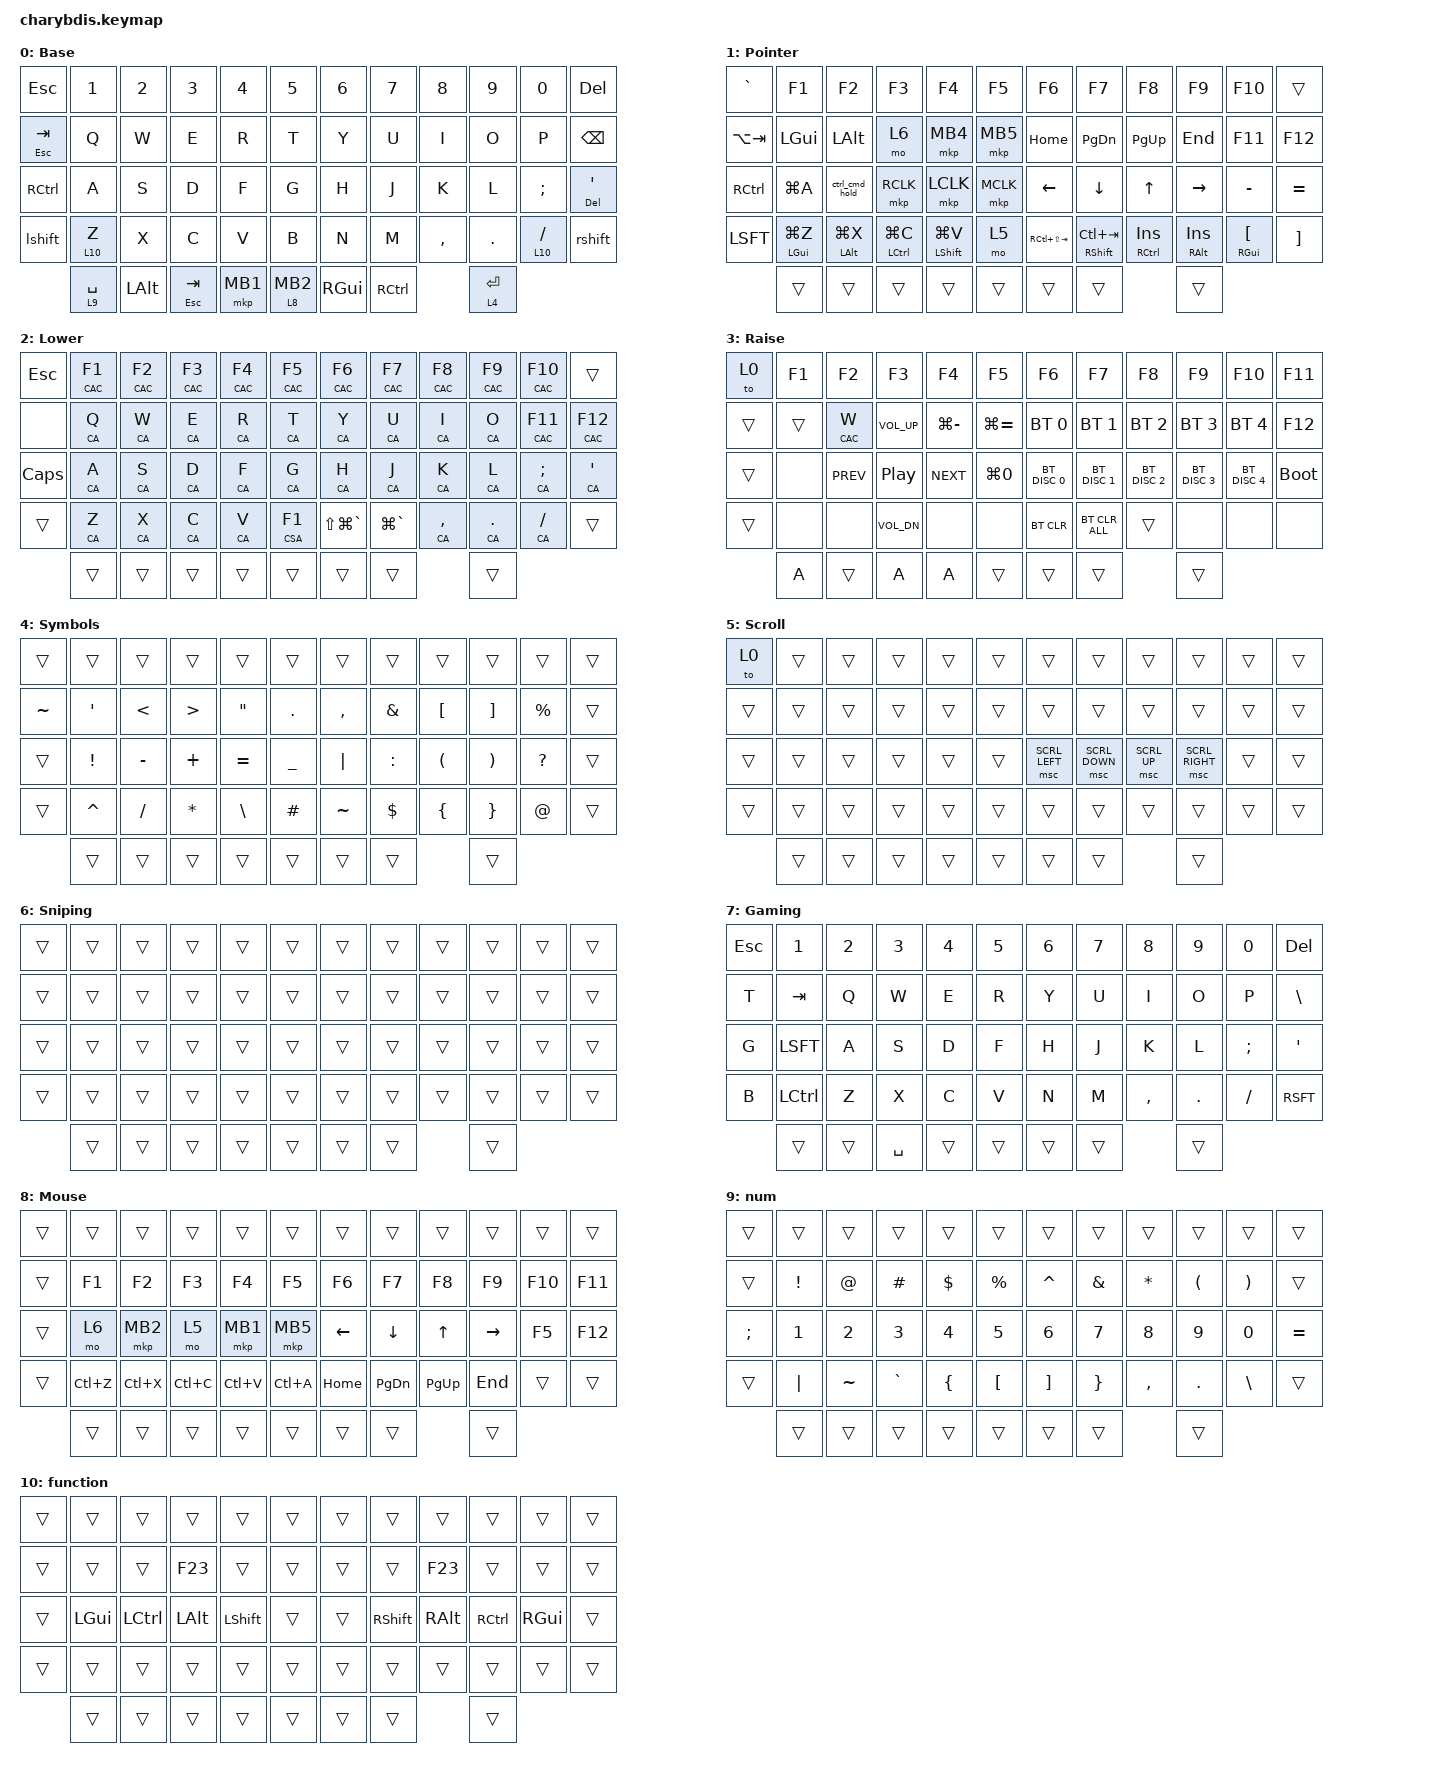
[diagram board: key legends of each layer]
#include <dt-bindings/zmk/mouse.h>
#include <behaviors/mouse_keys.dtsi>
#include <behaviors.dtsi>
#include <dt-bindings/zmk/bt.h>
#include <dt-bindings/zmk/keys.h>
#include <dt-bindings/zmk/pointing.h>

/ {
    chosen { zmk,physical-layout = &charybdis_6col_layout; };
};

&mt {
    quick-tap-ms = <200>;
    flavor = "tap-preferred";
    tapping-term-ms = <170>;
};

&lt {
    quick-tap-ms = <200>;
    flavor = "tap-preferred";
    tapping-term-ms = <170>;
};

// Layer definitions

#define BASE 0
#define POINTER 1
#define LOWER 2
#define RAISE 3
#define SYMBOLS 4
#define SCROLL 5
#define SNIPING 6
#define GAMING 7

/ {
    behaviors {
        // Hold-tap behavior for layer with tap-preferred

        blt: blt {
            compatible = "zmk,behavior-hold-tap";
            #binding-cells = <2>;
            flavor = "tap-preferred";
            tapping-term-ms = <200>;
            quick-tap-ms = <300>;
            require-prior-idle-ms = <100>;
            bindings = <&mo>, <&kp>;
        };

        // Tap-dance for GUI/Ctrl+B

        gui_ctrlb: gui_ctrlb {
            compatible = "zmk,behavior-tap-dance";
            #binding-cells = <0>;
            tapping-term-ms = <200>;
            bindings = <&kp LGUI>, <&kp LC(B)>;
        };

        // Tap/hold Alt, double-tap Ctrl+Shift+Z

        lalt_dt: lalt_dt {
            compatible = "zmk,behavior-tap-dance";
            #binding-cells = <0>;
            tapping-term-ms = <200>;
            bindings = <&kp LALT>, <&kp LC(LS(Z))>;
        };

        // Home row mods - Left hand

        hml: home_row_mod_left {
            compatible = "zmk,behavior-hold-tap";
            #binding-cells = <2>;
            flavor = "balanced";
            require-prior-idle-ms = <150>;
            tapping-term-ms = <280>;
            quick-tap-ms = <175>;
            bindings = <&kp>, <&kp>;

            hold-trigger-key-positions = <6 7 8 9 10 11 18 19 20 21 22 23 30 31 32 33 34 35 42 43 44 45 46 47 53 54 55>; // Right side keys
            hold-trigger-on-release;
        };

        // Home row mods - Right hand

        hmr: home_row_mod_right {
            compatible = "zmk,behavior-hold-tap";
            #binding-cells = <2>;
            flavor = "balanced";
            require-prior-idle-ms = <150>;
            tapping-term-ms = <280>;
            quick-tap-ms = <175>;
            bindings = <&kp>, <&kp>;

            hold-trigger-key-positions = <0 1 2 3 4 5 12 13 14 15 16 17 24 25 26 27 28 29 36 37 38 39 40 41 48 49 50 51 52>; // Left side keys
            hold-trigger-on-release;
        };

        mot: mot {
            compatible = "zmk,behavior-hold-tap";
            label = "MOT";
            bindings = <&mo>, <&mkp>;

            #binding-cells = <2>;
            tapping-term-ms = <170>;
            quick-tap-ms = <200>;
        };

        lshift: lshift {
            compatible = "zmk,behavior-tap-dance";
            label = "LSHIFT";
            #binding-cells = <0>;
            bindings = <&kp LEFT_SHIFT>, <&kp CLCK>;
        };

        rshift: rshift {
            compatible = "zmk,behavior-tap-dance";
            label = "RSHIFT";
            #binding-cells = <0>;
            bindings = <&kp RSHIFT>, <&kp CLCK>;
        };
    };

    macros {
        // Ctrl+Alt+Cmd macro

        CAC: CAC {
            compatible = "zmk,behavior-macro-one-param";
            #binding-cells = <1>;
            bindings =
                <&macro_press>,
                <&kp LCTRL &kp LALT &kp LGUI &macro_param_1to1>,
                <&macro_tap>,
                <&kp MACRO_PLACEHOLDER>,
                <&macro_release>,
                <&kp LCTRL &kp LALT &kp LGUI>;
        };

        // Ctrl+Shift+Alt macro

        CSA: CSA {
            compatible = "zmk,behavior-macro-one-param";
            #binding-cells = <1>;
            bindings =
                <&macro_press>,
                <&kp LCTRL &kp LSHIFT &kp LALT &macro_param_1to1>,
                <&macro_tap>,
                <&kp MACRO_PLACEHOLDER>,
                <&macro_release>,
                <&kp LCTRL &kp LSHIFT &kp LALT>;
        };

        // Ctrl+Alt macro

        CA: CA {
            compatible = "zmk,behavior-macro-one-param";
            #binding-cells = <1>;
            bindings =
                <&macro_press>,
                <&kp LCTRL &kp LALT &macro_param_1to1>,
                <&macro_tap>,
                <&kp MACRO_PLACEHOLDER>,
                <&macro_release>,
                <&kp LCTRL &kp LALT>;
        };

        // Hold Ctrl+Cmd+Left Click while key is pressed (for mouse drag window actions)

        ctrl_cmd_hold: ctrl_cmd_hold {
            compatible = "zmk,behavior-macro";
            wait-ms = <0>;
            tap-ms = <10>;
            #binding-cells = <0>;
            bindings =
                <&macro_press>,
                <&kp LCTRL &kp LGUI &mkp LCLK>,
                <&macro_pause_for_release>,
                <&macro_release>,
                <&mkp LCLK &kp LCTRL &kp LGUI>;
        };
    };

    combos {
        compatible = "zmk,combos";
        timeout-ms = <20>;
        require-prior-idle-ms = <250>;

        // Studio Unlock Combo - all three right thumb keys

        combo_studio_unlock {
            timeout-ms = <50>;
            key-positions = <53 54 55>;
            bindings = <&studio_unlock>;
        };

        // Gaming layer toggle combo - keys 49, 55, 54

        combo_gaming_toggle {
            timeout-ms = <50>;
            key-positions = <49 55 54>;
            bindings = <&tog 7>;
        };

        bt-0 {
            bindings = <&to 3>;
            key-positions = <50 52 51 49>;
        };

        rest {
            bindings = <&bootloader>;
            key-positions = <51 55 52 53>;
        };

        roll {
            bindings = <&mo 5>;
            key-positions = <27 26>;
        };
    };

    keymap {
        compatible = "zmk,keymap";

        // ╭─────────────┬─────────────┬─────────────┬─────────────┬─────────────┬─────────────╮   ╭─────────────┬─────────────┬─────────────┬─────────────┬─────────────┬─────────────╮
        //    0             1             2             3             4             5                 6             7             8             9            10            11
        // ├─────────────┼─────────────┼─────────────┼─────────────┼─────────────┼─────────────┤   ├─────────────┼─────────────┼─────────────┼─────────────┼─────────────┼─────────────┤
        //   12            13            14            15            16            17                18            19            20            21            22            23
        // ├─────────────┼─────────────┼─────────────┼─────────────┼─────────────┼─────────────┤   ├─────────────┼─────────────┼─────────────┼─────────────┼─────────────┼─────────────┤
        //   24            25            26            27            28            29                30            31            32            33            34            35
        // ├─────────────┼─────────────┼─────────────┼─────────────┼─────────────┼─────────────┤   ├─────────────┼─────────────┼─────────────┼─────────────┼─────────────┼─────────────┤
        //   36            37            38            39            40            41                42            43            44            45            46            47
        // ╰─────────────┴─────────────┴─────────────┴─────────────┴─────────────┴─────────────╯   ╰─────────────┴─────────────┴─────────────┴─────────────┴─────────────┴─────────────╯
        //               ╭─────────────┬─────────────┬─────────────┬─────────────┬─────────────╮   ╭─────────────┬─────────────┬─────────────╮
        //                  48            49            50            51            52                53            54            55
        //               ╰─────────────┴─────────────┴─────────────┴─────────────┴─────────────╯   ╰─────────────┴─────────────┴─────────────╯
        //                                                                         Actual Key Positions
        //                                          ╭─────────────┬─────────────┬─────────────╮    ╭─────────────┬─────────────╮
        //                                             50           51            48                 55            54
        //                                          ╰─────────────┼─────────────┼─────────────┤    ├─────────────┼─────────────╯
        //                                                          52            49                 53
        //                                                        ╰─────────────┴─────────────╯    ╰─────────────╯

        base_layer {
            label = "BASE";
            display-name = "Base";
            bindings = <
&kp ESC      &kp N1       &kp N2    &kp N3          &kp N4    &kp N5      &kp N6                &kp N7     &kp N8     &kp N9       &kp N0        &kp DELETE
&mt ESC TAB  &kp Q        &kp W     &kp E           &kp R     &kp T                      &kp Y  &kp U      &kp I      &kp O        &kp P         &kp BACKSPACE
&kp RCTRL    &kp A        &kp S     &kp D           &kp F     &kp G                      &kp H  &kp J      &kp K      &kp L        &kp SEMI      &mt DEL SQT
&lshift      &lt 10 Z     &kp X     &kp C           &kp V     &kp B                      &kp N  &kp M      &kp COMMA  &kp DOT      &lt 10 SLASH  &rshift
             &lt 9 SPACE  &kp LALT  &mt ESCAPE TAB  &mkp MB1  &mot 8 MB2  &kp RIGHT_GUI         &kp RCTRL             &lt 4 ENTER
            >;
        };

        num_layer {
            label = "POINTER";
            display-name = "Pointer";
            bindings = <
&kp GRAVE    &kp F1           &kp F2           &kp F3            &kp F4             &kp F5     &kp F6                   &kp F7               &kp F8          &kp F9         &kp F10         &trans
&kp LA(TAB)  &kp LGUI         &kp LALT         &mo 6             &mkp MB4           &mkp MB5           &kp HOME         &kp PG_DN            &kp PG_UP       &kp END        &kp F11         &kp F12
&kp RCTRL    &kp LG(A)        &ctrl_cmd_hold   &mkp RCLK         &mkp LCLK          &mkp MCLK          &kp LEFT         &kp DOWN             &kp UP          &kp RIGHT      &kp MINUS       &kp EQUAL
&kp LSFT     &hml LGUI LG(Z)  &hml LALT LG(X)  &hml LCTRL LG(C)  &hml LSHIFT LG(V)  &mo 5              &kp RC(LS(TAB))  &hmr RSHIFT LC(TAB)  &hmr RCTRL INS  &hmr RALT INS  &hmr RGUI LBKT  &kp RBKT
             &trans           &trans           &trans            &trans             &trans     &trans                   &trans                               &trans
            >;
        };

        lower_layer {
            label = "LOWER";
            display-name = "Lower";
            bindings = <
&kp ESC   &CAC F1  &CAC F2  &CAC F3  &CAC F4  &CAC F5  &CAC F6                     &CAC F7        &CAC F8    &CAC F9  &CAC F10  &trans
&none     &CA Q    &CA W    &CA E    &CA R    &CA T             &CA Y              &CA U          &CA I      &CA O    &CAC F11  &CAC F12
&kp CAPS  &CA A    &CA S    &CA D    &CA F    &CA G             &CA H              &CA J          &CA K      &CA L    &CA SEMI  &CA SQT
&trans    &CA Z    &CA X    &CA C    &CA V    &CSA F1           &kp LS(LG(GRAVE))  &kp LG(GRAVE)  &CA COMMA  &CA DOT  &CA FSLH  &trans
          &trans   &trans   &trans   &trans   &trans   &trans                      &trans                    &trans
            >;
        };

        raise_layer {
            label = "RAISE";
            display-name = "Raise";
            bindings = <
&to 0   &kp F1  &kp F2      &kp F3        &kp F4         &kp F5         &kp F6                 &kp F7          &kp F8         &kp F9         &kp F10        &kp F11
&trans  &trans  &CAC W      &kp C_VOL_UP  &kp LG(MINUS)  &kp LG(EQUAL)          &bt BT_SEL 0   &bt BT_SEL 1    &bt BT_SEL 2   &bt BT_SEL 3   &bt BT_SEL 4   &kp F12
&trans  &none   &kp C_PREV  &kp C_PP      &kp C_NEXT     &kp LG(N0)             &bt BT_DISC 0  &bt BT_DISC 1   &bt BT_DISC 2  &bt BT_DISC 3  &bt BT_DISC 4  &bootloader
&trans  &none   &none       &kp C_VOL_DN  &none          &none                  &bt BT_CLR     &bt BT_CLR_ALL  &trans         &none          &none          &none
        &kp A   &trans      &kp A         &kp A          &trans         &trans                 &trans                         &trans
            >;
        };

        symbols_layer {
            label = "SYMBOLS";
            display-name = "Symbols";
            bindings = <
&trans     &trans     &trans     &trans     &trans     &trans     &trans             &trans     &trans    &trans    &trans     &trans
&kp TILDE  &kp SQT    &kp LT     &kp GT     &kp DQT    &kp DOT            &kp COMMA  &kp AMPS   &kp LBKT  &kp RBKT  &kp PRCNT  &trans
&trans     &kp EXCL   &kp MINUS  &kp PLUS   &kp EQUAL  &kp UNDER          &kp PIPE   &kp COLON  &kp LPAR  &kp RPAR  &kp QMARK  &trans
&trans     &kp CARET  &kp FSLH   &kp ASTRK  &kp BSLH   &kp HASH           &kp TILDE  &kp DLLR   &kp LBRC  &kp RBRC  &kp AT     &trans
           &trans     &trans     &trans     &trans     &trans     &trans             &trans               &trans
            >;
        };

        scroll_layer {
            label = "SCROLL";
            display-name = "Scroll";
            bindings = <
&to 0   &trans  &trans  &trans  &trans  &trans  &trans                  &trans          &trans        &trans           &trans  &trans
&trans  &trans  &trans  &trans  &trans  &trans          &trans          &trans          &trans        &trans           &trans  &trans
&trans  &trans  &trans  &trans  &trans  &trans          &msc SCRL_LEFT  &msc SCRL_DOWN  &msc SCRL_UP  &msc SCRL_RIGHT  &trans  &trans
&trans  &trans  &trans  &trans  &trans  &trans          &trans          &trans          &trans        &trans           &trans  &trans
        &trans  &trans  &trans  &trans  &trans  &trans                  &trans                        &trans
            >;
        };

        sniping_layer {
            label = "SNIPING";
            display-name = "Sniping";
            bindings = <
&trans  &trans  &trans  &trans  &trans  &trans  &trans          &trans  &trans  &trans  &trans  &trans
&trans  &trans  &trans  &trans  &trans  &trans          &trans  &trans  &trans  &trans  &trans  &trans
&trans  &trans  &trans  &trans  &trans  &trans          &trans  &trans  &trans  &trans  &trans  &trans
&trans  &trans  &trans  &trans  &trans  &trans          &trans  &trans  &trans  &trans  &trans  &trans
        &trans  &trans  &trans  &trans  &trans  &trans          &trans          &trans
            >;
        };

        gaming_layer {
            label = "GAMING";
            display-name = "Gaming";
            bindings = <
&kp ESC  &kp N1     &kp N2  &kp N3     &kp N4  &kp N5  &kp N6         &kp N7  &kp N8     &kp N9   &kp N0    &kp DEL
&kp T    &kp TAB    &kp Q   &kp W      &kp E   &kp R           &kp Y  &kp U   &kp I      &kp O    &kp P     &kp BSLH
&kp G    &kp LSFT   &kp A   &kp S      &kp D   &kp F           &kp H  &kp J   &kp K      &kp L    &kp SEMI  &kp SQT
&kp B    &kp LCTRL  &kp Z   &kp X      &kp C   &kp V           &kp N  &kp M   &kp COMMA  &kp DOT  &kp FSLH  &kp RSFT
         &trans     &trans  &kp SPACE  &trans  &trans  &trans         &trans             &trans
            >;
        };

        Mouse {
            bindings = <
&trans  &trans     &trans     &trans     &trans     &trans     &trans            &trans         &trans     &trans     &trans   &trans
&trans  &kp F1     &kp F2     &kp F3     &kp F4     &kp F5             &kp F6    &kp F7         &kp F8     &kp F9     &kp F10  &kp F11
&trans  &mo 6      &mkp MB2   &mo 5      &mkp MB1   &mkp MB5           &kp LEFT  &kp DOWN       &kp UP     &kp RIGHT  &kp F5   &kp F12
&trans  &kp LC(Z)  &kp LC(X)  &kp LC(C)  &kp LC(V)  &kp LC(A)          &kp HOME  &kp PAGE_DOWN  &kp PG_UP  &kp END    &trans   &trans
        &trans     &trans     &trans     &trans     &trans     &trans            &trans                    &trans
            >;
        };

        num {
            bindings = <
&trans         &trans           &trans     &trans     &trans      &trans            &trans                     &trans           &trans     &trans    &trans    &trans
&trans         &kp EXCLAMATION  &kp AT     &kp HASH   &kp DOLLAR  &kp PERCENT               &kp CARET          &kp AMPS         &kp STAR   &kp LPAR  &kp RPAR  &trans
&kp SEMICOLON  &kp N1           &kp N2     &kp N3     &kp N4      &kp N5                    &kp N6             &kp N7           &kp N8     &kp N9    &kp N0    &kp EQUAL
&trans         &kp PIPE         &kp TILDE  &kp GRAVE  &kp LBRC    &kp LEFT_BRACKET          &kp RIGHT_BRACKET  &kp RIGHT_BRACE  &kp COMMA  &kp DOT   &kp BSLH  &trans
               &trans           &trans     &trans     &trans      &trans            &trans                     &trans                      &trans
            >;
        };

        function {
            bindings = <
&trans  &trans    &trans     &trans    &trans     &trans  &trans          &trans     &trans    &trans     &trans    &trans
&trans  &trans    &trans     &kp F23   &trans     &trans          &trans  &trans     &kp F23   &trans     &trans    &trans
&trans  &kp LGUI  &kp LCTRL  &kp LALT  &kp LSHFT  &trans          &trans  &kp RSHFT  &kp RALT  &kp RCTRL  &kp RGUI  &trans
&trans  &trans    &trans     &trans    &trans     &trans          &trans  &trans     &trans    &trans     &trans    &trans
        &trans    &trans     &trans    &trans     &trans  &trans          &trans               &trans
            >;
        };
    };
};
